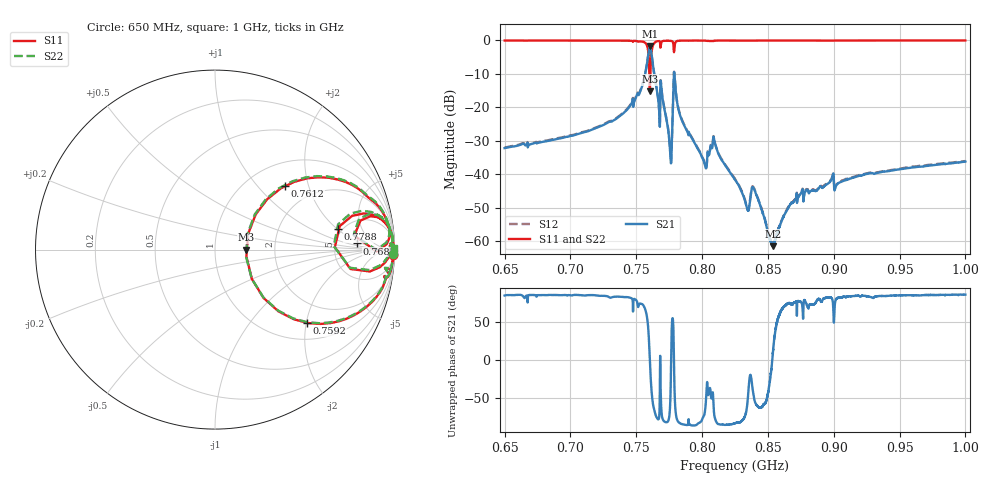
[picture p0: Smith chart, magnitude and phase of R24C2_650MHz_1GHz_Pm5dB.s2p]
!Keysight Technologies,N5221A,MY56011522,A.10.47.06
!Date: Tuesday, September 29, 2020 15:39:38
!Correction: S11(Full 2 Port(1,2))
!S21(Full 2 Port(1,2))
!S12(Full 2 Port(1,2))
!S22(Full 2 Port(1,2))
!S2P File: Measurements: S11, S21, S12, S22:
# Hz S  dB  R 50
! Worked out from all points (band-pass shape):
!   16001 points, 650 MHz to 1 GHz, reference 50 ohm
!   highest |S21| = -1.70 dB at 760.3 MHz (marker M1); lowest = -61.5 dB at 853.8 MHz (marker M2)
!   |S21| within 3 dB of the highest: 758.9505 MHz to 761.7844 MHz (2.834 MHz wide, 0.373 % of centre)
!   lowest |S11| = -15.2 dB at 760.3 MHz (marker M3), VSWR 1.42, Z = 71 + j0.0283 ohm
!   |S11| at or under -10 dB: 759.9317 MHz to 760.7213 MHz (789.6 kHz wide, 0.104 % of centre)
!   |S22| runs from -15.3 to 0.0 dB; largest |S21 - S12| = 0.011
!   S11 on the Smith chart (normalised r, x): 650 MHz: 14, -67; 759.2 MHz: 1.41, -2.02; 761.2 MHz: 1.45, +1.41; 768.3 MHz: 8.30, +1.53; 778.8 MHz: 4.61, +2.01; 1 GHz: open
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6.5e8  -0.05 -1.6  -32.21 85.5  -32.03 85.3  -0.06 -1.3
7.083406e8  -0.06 -2.5  -27.67 85.9  -27.49 85.7  -0.07 -2.0
7.433188e8  -0.09 -5.6  -20.58 83.3  -20.38 83.0  -0.10 -5.4
7.555688e8  -0.46 -14.6  -12.08 72.0  -11.88 71.5  -0.49 -14.6
7.591781e8  -3.68 -38.5  -4.00 40.3  -3.90 39.6  -3.79 -38.6
7.602938e8  -15.19 -4.2  -1.70 1.0  -1.67 1.2  -15.29 -4.6
7.603156e8  -15.21 0.1  -1.70 0.1  -1.67 0.3  -15.33 -0.3
7.611906e8  -5.60 42.3  -3.05 -30.0  -2.98 -29.7  -5.69 43.2
7.666812e8  -0.20 7.4  -17.70 -77.8  -17.51 -77.7  -0.20 8.1
7.682781e8  -2.03 2.5  -13.61 -9.8  -13.65 -8.2  -2.04 2.6
7.756719e8  -0.13 1.0  -32.98 -60.9  -32.81 -60.8  -0.13 1.7
7.788e8  -3.18 9.4  -9.55 -20.1  -9.41 -19.6  -3.27 10.2
8.018562e8  -0.08 0.5  -36.84 -70.7  -36.66 -70.7  -0.08 1.0
8.095125e8  -0.10 1.4  -30.46 -74.5  -30.28 -74.7  -0.10 1.8
8.25e8  -0.05 0.3  -41.65 -83.0  -41.44 -83.0  -0.04 0.8
8.344062e8  -0.05 0.0  -50.48 -56.4  -50.33 -56.2  -0.04 0.7
8.397e8  -0.06 0.1  -44.58 -51.7  -44.42 -51.8  -0.05 0.9
8.538094e8  -0.04 -0.3  -61.52 10.3  -61.10 10.8  -0.04 0.7
8.665844e8  -0.04 -0.5  -49.27 75.4  -49.12 75.3  -0.05 0.2
8.833406e8  -0.05 -0.6  -44.92 73.8  -44.72 73.6  -0.04 -0.1
9.416812e8  -0.04 -0.8  -39.06 85.1  -38.91 85.0  -0.04 -0.0
1e9  -0.02 -1.0  -36.23 86.6  -36.07 86.8  -0.01 0.4
